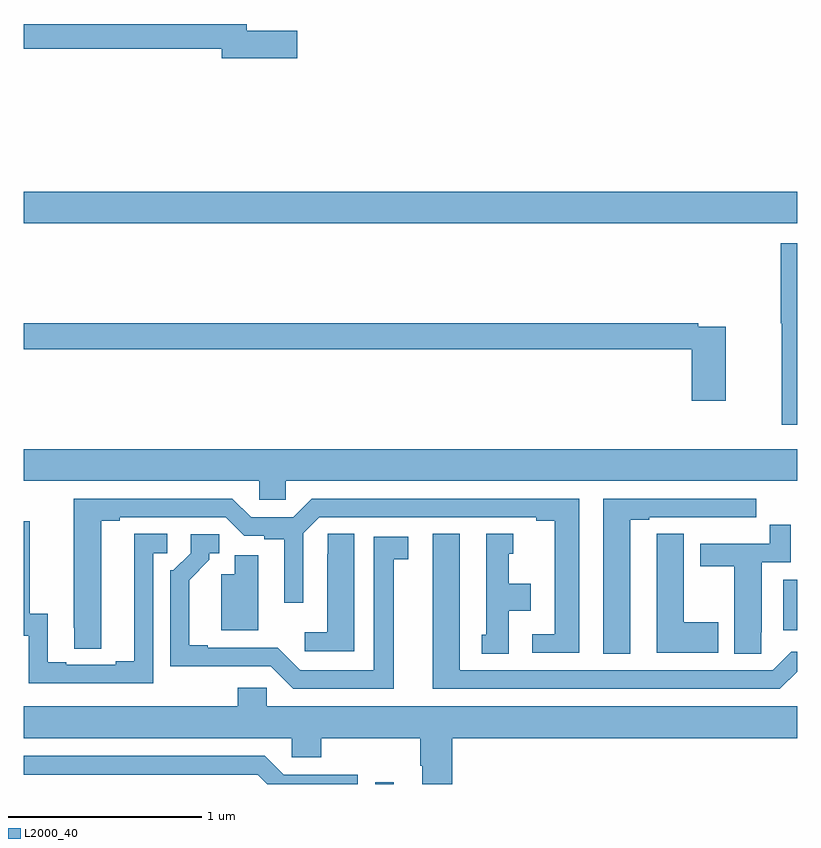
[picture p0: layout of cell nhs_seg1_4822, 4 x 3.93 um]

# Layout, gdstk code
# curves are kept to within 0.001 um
import gdstk
lib = gdstk.Library(unit=1e-6, precision=1e-09)
def R(c, l, rs):  # rectangles x0, y0, x1, y1
    for r in rs: c.add(gdstk.rectangle(r[:2], r[2:], *l))
def P(c, l, *ps):  # polygons
    for p in ps: c.add(gdstk.Polygon(p, *l))
L2000_40 = (2000, 40)

nhs_seg1_4822 = lib.new_cell('nhs_seg1_4822')
R(nhs_seg1_4822, L2000_40, [(374.817,514.199,374.914,514.207), (376.928,514.994,377,515.257), (373,517.1,377,517.264)])
P(nhs_seg1_4822, L2000_40, [(374.413,518.097),(374.152,518.097),(374.152,518.131),(373,518.131),(373,518.002),(374.024,518.002),(374.024,517.955),(374.413,517.955)],
  [(377,516.996),(376.916,516.996),(376.916,516.584),(376.921,516.584),(376.921,516.057),(377,516.057)],
  [(376.632,516.564),(376.49,516.564),(376.49,516.584),(373,516.584),(373,516.448),(376.454,516.448),(376.454,516.183),(376.632,516.183)],
  [(374.355,515.768),(377,515.768),(377,515.932),(373,515.932),(373,515.768),(374.217,515.768),(374.217,515.67),(374.355,515.67)],
  [(376.138,515.565),(376.234,515.565),(376.234,515.58),(376.51,515.58),(376.51,515.579),(376.676,515.579),(376.676,515.58),(376.789,515.58),(376.789,515.676),(375.998,515.676),(375.998,514.873),(376.138,514.873)],
  [(375.874,515.676),(374.489,515.676),(374.393,515.58),(374.175,515.58),(374.079,515.676),(373.259,515.676),(373.26,514.9),(373.399,514.9),(373.399,515.56),(373.495,515.56),(373.495,515.58),(374.043,515.58),(374.139,515.484),(374.244,515.484),(374.244,515.464),(374.348,515.464),(374.348,515.136),(374.445,515.136),(374.445,515.496),(374.529,515.58),(375.65,515.58),(375.65,515.56),(375.746,515.56),(375.746,514.974),(375.63,514.974),(375.63,514.878),(375.874,514.878)],
  [(373.668,515.394),(373.741,515.394),(373.741,515.495),(373.571,515.495),(373.571,514.835),(373.475,514.835),(373.475,514.815),(373.219,514.815),(373.219,514.83),(373.123,514.83),(373.123,515.081),(373.029,515.081),(373.029,515.559),(373,515.559),(373,514.965),(373.026,514.965),(373.026,514.719),(373.668,514.719)],
  [(376.815,514.984),(376.816,514.984),(376.816,515.346),(376.967,515.346),(376.967,515.539),(376.858,515.539),(376.858,515.442),(376.499,515.442),(376.499,515.326),(376.676,515.326),(376.676,514.873),(376.815,514.873)],
  [(374.71,515.495),(374.571,515.495),(374.571,515.387),(374.57,515.387),(374.57,514.984),(374.454,514.984),(374.454,514.887),(374.71,514.887)],
  [(376.591,515.037),(376.414,515.037),(376.414,515.495),(376.275,515.495),(376.275,515.387),(376.274,515.387),(376.274,514.877),(376.591,514.877)],
  [(377,514.781),(377,514.884),(376.971,514.884),(376.875,514.788),(375.256,514.788),(375.256,515.494),(375.116,515.494),(375.116,514.692),(376.911,514.692)],
  [(375.508,515.096),(375.622,515.096),(375.622,515.236),(375.508,515.236),(375.508,515.391),(375.532,515.391),(375.532,515.494),(375.392,515.494),(375.392,514.971),(375.368,514.971),(375.368,514.873),(375.508,514.873)],
  [(374.914,515.362),(374.989,515.362),(374.989,515.478),(374.81,515.478),(374.81,514.788),(374.43,514.788),(374.313,514.905),(373.951,514.905),(373.951,514.918),(373.855,514.918),(373.855,515.254),(373.96,515.359),(373.96,515.394),(374.01,515.394),(374.01,515.49),(373.863,515.49),(373.863,515.394),(373.773,515.304),(373.758,515.304),(373.758,514.808),(374.277,514.809),(374.394,514.692),(374.914,514.692)],
  [(374.212,515.382),(374.09,515.382),(374.09,515.284),(374.021,515.284),(374.021,514.994),(374.212,514.994)],
  [(375.215,514.436),(377,514.436),(377,514.6),(374.256,514.6),(374.256,514.698),(374.105,514.698),(374.105,514.6),(373,514.6),(373,514.436),(374.385,514.436),(374.385,514.338),(374.537,514.338),(374.537,514.436),(375.05,514.436),(375.05,514.294),(375.062,514.294),(375.062,514.199),(375.215,514.199)],
  [(374.727,514.248),(374.343,514.248),(374.247,514.344),(373,514.344),(373,514.248),(374.211,514.248),(374.26,514.199),(374.727,514.199)])

lib.write_gds('nhs_seg1_4822.gds')
